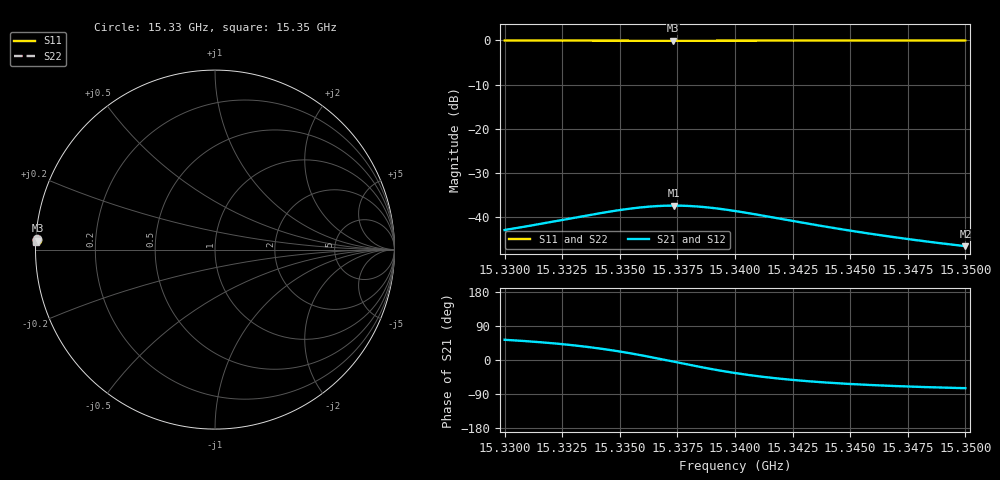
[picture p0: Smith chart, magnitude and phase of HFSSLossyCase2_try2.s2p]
! Variables:
!  $epsr = 5.5
!  $tandel = 0.003
!  a = 0.35in
!  d = 3.5in
!  epsr = 1
!  f0_ideal = 15.3934197621267GHz
!  iris_radius = 0.0705in
!  iris_width = 0.04in
!  rwg_a = 0.622in
!  rwg_b = 0.311in
!  rwg_length = 0.3in
!  tandel = 0
!  z1 = 0.5in
!  z2 = 0.55in
!Data is not renormalized
# GHz S MA
! Terminal data exported
! Port[1] = 1
! Port[2] = 2
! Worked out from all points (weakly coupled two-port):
!   1001 points, 15.33 GHz to 15.35 GHz, reference per port
!   highest |S21| = -37.35 dB at 15.3374 GHz (marker M1); lowest = -46.5 dB at 15.35 GHz (marker M2)
!   lowest |S11| = -0.1 dB at 15.3373 GHz (marker M3), VSWR 187.21
!   |S11| at or under -10 dB: nowhere
!   |S22| runs from -0.2 to 0.0 dB; largest |S21 - S12| = 1e-16
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15.33  0.9958 176.9  0.007182 53.4  0.007182 53.4  0.9926 176.6
15.33018  0.9957 176.9  0.007311 52.7  0.007311 52.7  0.9924 176.6
15.3312  0.9951 176.9  0.008115 48.6  0.008115 48.6  0.991 176.6
15.33334  0.9932 176.9  0.01022 36.4  0.01022 36.4  0.9867 176.6
15.33444  0.9919 176.9  0.01146 27.6  0.01146 27.6  0.9838 176.6
15.33528  0.9908 177.0  0.01237 19.5  0.01237 19.5  0.9815 176.7
15.336  0.99 177.0  0.01301 11.7  0.01301 11.7  0.9797 176.8
15.33634  0.9897 177.0  0.01324 7.7  0.01324 7.7  0.9791 176.9
15.33668  0.9895 177.1  0.01342 3.7  0.01342 3.7  0.9786 177.0
15.3373  0.9894 177.1  0.01356 -4.0  0.01356 -4.0  0.9783 177.1
15.33736  0.9894 177.1  0.01356 -4.7  0.01356 -4.7  0.9783 177.2
15.33796  0.9896 177.2  0.01345 -12.1  0.01345 -12.1  0.9787 177.3
15.33858  0.99 177.3  0.01311 -19.5  0.01311 -19.5  0.9798 177.4
15.33924  0.9908 177.3  0.01257 -26.8  0.01257 -26.8  0.9814 177.6
15.34  0.9917 177.4  0.01179 -34.3  0.01179 -34.3  0.9836 177.7
15.34096  0.9929 177.4  0.01072 -42.5  0.01072 -42.5  0.9863 177.7
15.34334  0.9952 177.4  0.008332 -56.8  0.008332 -56.8  0.9913 177.7
15.34502  0.9961 177.4  0.007054 -63.4  0.007054 -63.4  0.9934 177.6
15.34668  0.9968 177.3  0.006079 -68.1  0.006079 -68.1  0.9947 177.6
15.34842  0.9972 177.3  0.005287 -71.8  0.005287 -71.8  0.9957 177.5
15.34946  0.9974 177.3  0.004899 -73.5  0.004899 -73.5  0.9961 177.5
15.35  0.9975 177.3  0.004718 -74.4  0.004718 -74.4  0.9963 177.5
